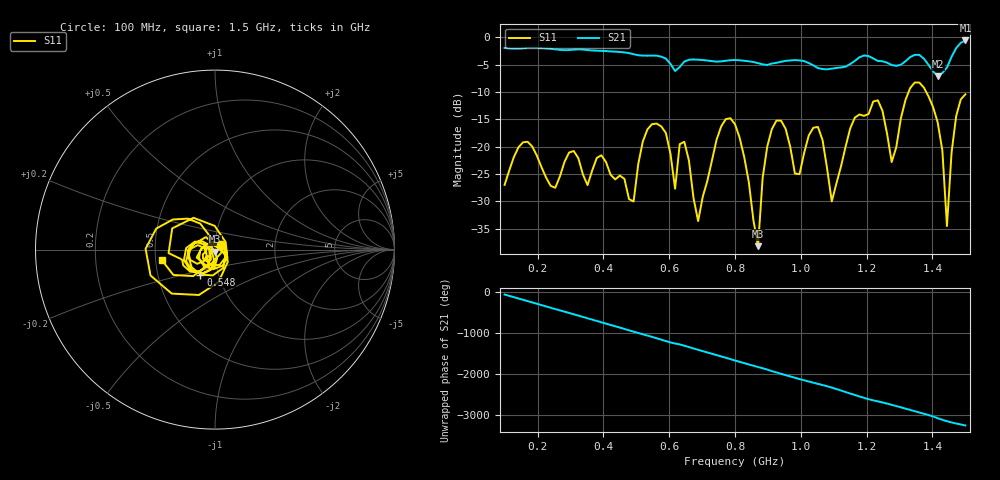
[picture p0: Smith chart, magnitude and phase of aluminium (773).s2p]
! NanoVNA-App
! Date: 2025-09-25 15:01:18
! Start: 100MHz Stop: 1,5GHz Points: 101
! S-Parameter data: F S11 S21 S12 S22
# Hz S RI R 50
!  Frequency  S11_Real  S11_Imag  S21_Real  S21_Imag  S12_Real  S12_Imag  S22_Real  S22_Imag
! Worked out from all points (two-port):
!   101 points, 100 MHz to 1.5 GHz, reference 50 ohm
!   highest |S21| = -0.55 dB at 1.5 GHz (marker M1); lowest = -7.1 dB at 1.416 GHz (marker M2)
!   |S21| within 3 dB of the highest: start of sweep to 577.4 MHz; 1.458 GHz to end of sweep (the widest 2 of 4)
!   lowest |S11| = -38.2 dB at 870 MHz (marker M3), VSWR 1.02, Z = 50.1 - j1.23 ohm
!   |S11| at or under -10 dB: start of sweep to 1.327 GHz; 1.381 GHz to end of sweep
!   S12 and S22 are empty: the file has one direction only
!   S11 on the Smith chart (normalised r, x): 100 MHz: 1.07, +0.06; 548 MHz: 0.82, -0.23; 1.5 GHz: 0.54, -0.07
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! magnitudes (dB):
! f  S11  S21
! 100 MHz  -27.0  -1.9
! 156 MHz  -19.2  -2.0
! 338 MHz  -25.1  -2.2
! 492 MHz  -30.0  -3.1
! 548 MHz  -15.9  -3.3
! 576 MHz  -16.3  -3.5
! 618 MHz  -27.7  -6.1
! 646 MHz  -19.1  -4.4
! 688 MHz  -33.6  -4.1
! 800 MHz  -15.9  -4.1
! 870 MHz  -38.2  -4.7
! 912 MHz  -16.8  -4.8
! 996 MHz  -25.0  -4.2
! 1.038 GHz  -16.5  -5.1
! 1.094 GHz  -30.0  -5.7
! 1.22 GHz  -11.7  -3.9
! 1.276 GHz  -22.8  -5.0
! 1.346 GHz  -8.2  -3.2
! 1.416 GHz  -15.6  -7.1
! 1.444 GHz  -34.5  -5.5
! 1.472 GHz  -14.4  -1.9
! 1.5 GHz  -10.4  -0.6
